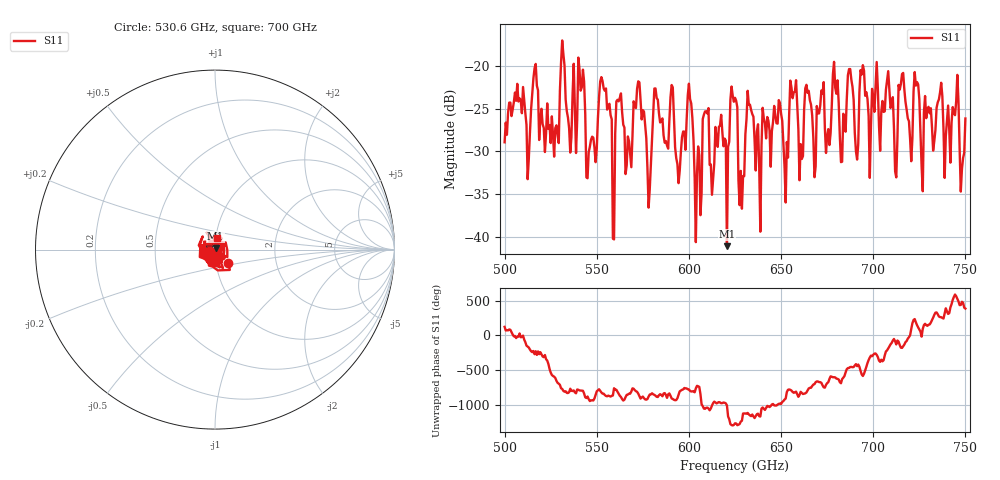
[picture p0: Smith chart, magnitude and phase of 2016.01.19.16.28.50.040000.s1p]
!Created with skrf (http://scikit-rf.org).
# GHz S RI R 50.0
!freq ReS11 ImS11
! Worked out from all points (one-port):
!   401 points, 500 GHz to 750 GHz, reference 50 ohm
!   lowest |S11| = -41.0 dB at 620.6 GHz (marker M1), VSWR 1.02, Z = 50.3 + j0.833 ohm
!   |S11| at or under -10 dB: start of sweep to end of sweep
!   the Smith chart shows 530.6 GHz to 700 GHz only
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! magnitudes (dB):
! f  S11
! 500 GHz  -28.9
! 516.9 GHz  -19.8
! 528.1 GHz  -27.0
! 531.2 GHz  -17.1
! 541.2 GHz  -22.9
! 545.6 GHz  -30.1
! 553.1 GHz  -21.8
! 558.8 GHz  -40.2
! 562.5 GHz  -23.7
! 578.8 GHz  -34.4
! 581.9 GHz  -22.7
! 590.6 GHz  -22.3
! 593.8 GHz  -31.5
! 600.6 GHz  -23.9
! 605 GHz  -29.4
! 609.4 GHz  -25.3
! 620.6 GHz  -41.0
! 625 GHz  -23.7
! 628.1 GHz  -32.3
! 632.5 GHz  -24.6
! 652.5 GHz  -35.9
! 656.2 GHz  -23.8
! 660.6 GHz  -29.1
! 687.5 GHz  -20.4
! 690.6 GHz  -30.0
! 693.8 GHz  -21.0
! 718.8 GHz  -26.1
! 750 GHz  -26.2
